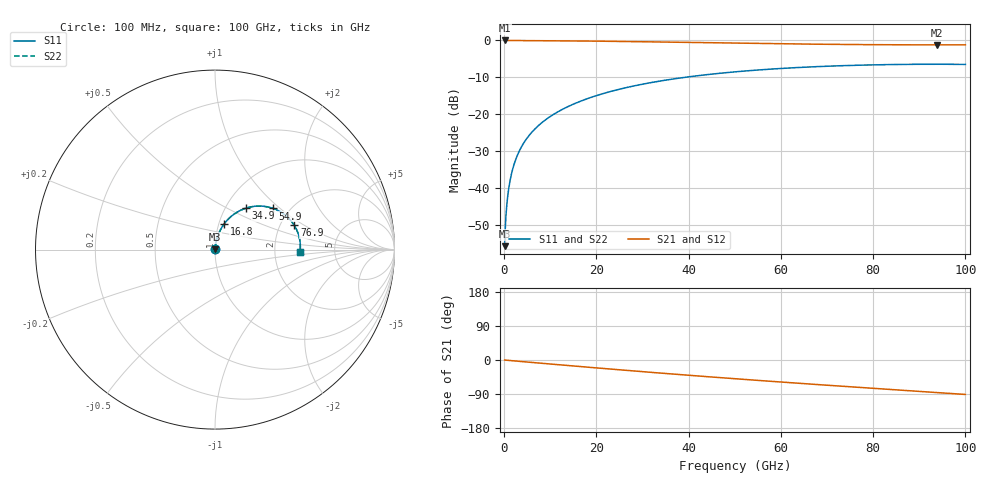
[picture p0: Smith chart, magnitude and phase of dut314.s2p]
! Touchstone file exported from HFSS 2026.1.0
!  File:  C:/ffzhzh/LocalFiles/Ansys_Project_Files/temp_train_RDL_314_1783502586_41296.aedt
!  Generated:  05:24:30 PM Jul  8, 2026
!  Design:  RDL
!  Project:  temp_train_RDL_314_1783502586_41296
! Variables:
!  h_bsmrdl = 2um
!  h_ox = 20um
!  h_rdl = 5um
!  h_sub = 80um
!  h_tmrdl = 4.06um
!  h_tsv = 80um
!  h_via = 3um
!  l_bsmrdl = 300um
!  l_sub = 690.48um
!  l_tmrdl = 290.48um
!  m_sub = 200um
!  pitch = 46.56um
!  r_tsv = 6um
!  s_tmrdl = 10um
!  w_bsmrdl = 18um
!  w_sub = 500um
!  w_tmrdl = 24.78um
!  x_tsv_center1 = 302.87um
!  x_tsv_center2 = 620.87um
!  x_tsv_center3 = 936.13um
!  x_tsv_center4 = 1254.13um
!  x_tsv_center5 = 1569.39um
!  x_tsv_center6 = 1887.39um
# GHz S MA R 50.000000
! Terminal data exported
! Port[1] = TM_RDL1_1_T1
! Port[2] = TM_RDL1_1_T2
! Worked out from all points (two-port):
!   1000 points, 100 MHz to 100 GHz, reference 50 ohm
!   highest |S21| = -0.01 dB at 100 MHz (marker M1); lowest = -1.2 dB at 93.9 GHz (marker M2)
!   |S21| within 3 dB of the highest: start of sweep to end of sweep
!   lowest |S11| = -55.7 dB at 100 MHz (marker M3), VSWR 1.00, Z = 50.1 + j0.11 ohm
!   |S11| at or under -10 dB: start of sweep to 39.12 GHz
!   |S22| runs from -55.7 to -6.4 dB; largest |S21 - S12| = 5e-15
!   S11 on the Smith chart (normalised r, x): 100 MHz: 1.00, +0.00; 16.8 GHz: 1.06, +0.31; 34.9 GHz: 1.24, +0.63; 54.9 GHz: 1.66, +0.90; 76.9 GHz: 2.38, +0.82; 100 GHz: 2.80, -0.08
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0.1  0.001645 41.7  0.9988 -0.1  0.9988 -0.1  0.001645 41.7
! Gamma 0 0 0 0
! Port Impedance 50 0 50 0
0.7  0.007134 76.7  0.9984 -0.8  0.9984 -0.8  0.007134 76.7
0.9  0.00903 78.9  0.9984 -1.0  0.9984 -1.0  0.00903 78.9
1.2  0.0119 80.8  0.9983 -1.3  0.9983 -1.3  0.0119 80.8
1.5  0.01478 81.8  0.9982 -1.6  0.9982 -1.6  0.01478 81.8
2  0.01959 82.5  0.998 -2.2  0.998 -2.2  0.01959 82.5
2.5  0.02438 82.7  0.9978 -2.7  0.9978 -2.7  0.02438 82.7
4  0.03863 82.1  0.9968 -4.3  0.9968 -4.3  0.03863 82.1
6.1  0.05818 80.4  0.9952 -6.5  0.9952 -6.5  0.05818 80.4
8.9  0.08365 77.8  0.9926 -9.5  0.9926 -9.5  0.08365 77.8
12.4  0.1147 74.6  0.9887 -13.1  0.9887 -13.1  0.1147 74.5
16.8  0.1525 70.3  0.9828 -17.6  0.9828 -17.6  0.1525 70.3
24.2  0.2125 63.2  0.9707 -25.1  0.9707 -25.1  0.2125 63.2
33.4  0.2794 54.5  0.9529 -34.1  0.9529 -34.1  0.2794 54.4
34.9  0.2895 53.1  0.9498 -35.5  0.9498 -35.5  0.2894 53.0
50.1  0.3759 39.4  0.9186 -49.5  0.9186 -49.5  0.3758 39.3
54.9  0.3974 35.2  0.9094 -53.7  0.9094 -53.7  0.3974 35.1
66.7  0.4388 25.3  0.8901 -63.8  0.8901 -63.8  0.4388 25.2
76.9  0.462 17.0  0.8783 -72.2  0.8783 -72.2  0.462 16.9
83.4  0.471 11.8  0.8735 -77.5  0.8735 -77.5  0.4709 11.6
93.9  0.476 3.5  0.8705 -86.0  0.8705 -86.0  0.476 3.3
100  0.4737 -1.3  0.8715 -90.9  0.8715 -90.9  0.4736 -1.6
